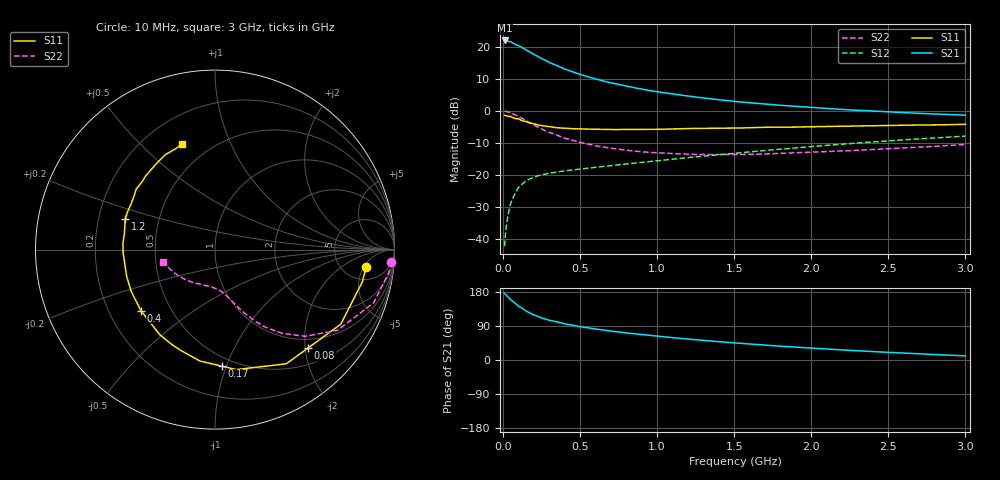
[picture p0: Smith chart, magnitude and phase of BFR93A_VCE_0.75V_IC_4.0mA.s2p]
! Infineon Technologies  Discrete & RF Semiconductors
! BFR93A
! VCE = 0.75 V,  IC =  4.0 mA
! Common Emitter S-Parameters:  Nov 2015
# GHz  S  MA  R  50
!  f  S11  S21  S12  S22
! GHz  MAG  ANG  MAG  ANG  MAG  ANG  MAG  ANG
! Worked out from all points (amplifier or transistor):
!   180 points, 10 MHz to 3 GHz, reference 50 ohm
!   highest |S21| = 21.9 dB at 10 MHz (marker M1)
!   |S21| within 3 dB of that: start of sweep to 151.6 MHz
!   unconditionally stable (mu >= 1): 749.4 MHz to end of sweep
!   at 160 MHz: K = 0.31, MSG = 20.2 dB, |S12| = -21.6 dB
!   at 1.22 GHz: K = 1.16, MAG = 7.0 dB, |S12| = -14.5 dB
!   at 3 GHz: K = 1.05, MAG = 1.9 dB, |S12| = -7.9 dB
!   S11 on the Smith chart (normalised r, x): 10 MHz: 8, -6; 80 MHz: 0.81, -2.06; 170 MHz: 0.43, -0.96; 400 MHz: 0.34, -0.32; 1.2 GHz: 0.32, +0.15; 3 GHz: 0.36, +0.67
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0.01  0.8484 -6.4  12.5 175.5  0.0077 86.9  0.9841 -3.9
0.02  0.8401 -12.4  12.43 171.2  0.015 82.4  0.9766 -7.6
0.05  0.8147 -30.7  11.86 159.0  0.036 73.6  0.9329 -18.4
0.08  0.7546 -46.6  10.9 149.4  0.0522 64.5  0.8569 -26.9
0.1  0.7501 -58.0  10.45 142.2  0.0634 61.0  0.8182 -33.3
0.15  0.679 -79.9  8.896 128.8  0.0809 51.8  0.697 -43.9
0.17  0.6505 -86.7  8.345 125.2  0.0853 49.5  0.6559 -46.6
0.2  0.6264 -97.7  7.59 118.9  0.0922 46.5  0.5975 -51.3
0.24  0.593 -108.8  6.723 112.7  0.0985 43.5  0.534 -55.6
0.26  0.582 -113.9  6.348 109.8  0.1012 42.4  0.5064 -57.5
0.3  0.5654 -122.9  5.688 104.9  0.1059 40.8  0.4587 -60.7
0.4  0.5347 -140.6  4.474 95.3  0.1155 39.1  0.3739 -66.3
0.52  0.5191 -155.6  3.573 86.7  0.1248 39.1  0.3132 -70.7
0.6  0.5144 -163.5  3.132 81.7  0.131 39.7  0.2842 -73.6
0.7  0.5091 -171.3  2.725 76.2  0.1391 40.6  0.2595 -76.7
0.82  0.5122 -179.3  2.365 70.6  0.1493 42.0  0.2387 -80.7
1.02  0.5136 169.3  1.947 62.2  0.1678 43.6  0.2192 -87.5
1.2  0.5279 161.0  1.696 55.2  0.1858 44.7  0.2097 -94.9
1.52  0.5369 148.4  1.384 44.5  0.2197 45.5  0.2078 -108.1
2.02  0.5642 132.7  1.116 31.0  0.2781 44.3  0.2257 -128.5
2.52  0.5909 119.6  0.956 19.8  0.3417 40.2  0.2567 -148.0
3  0.6144 107.3  0.853 11.0  0.4023 34.6  0.2972 -166.9
